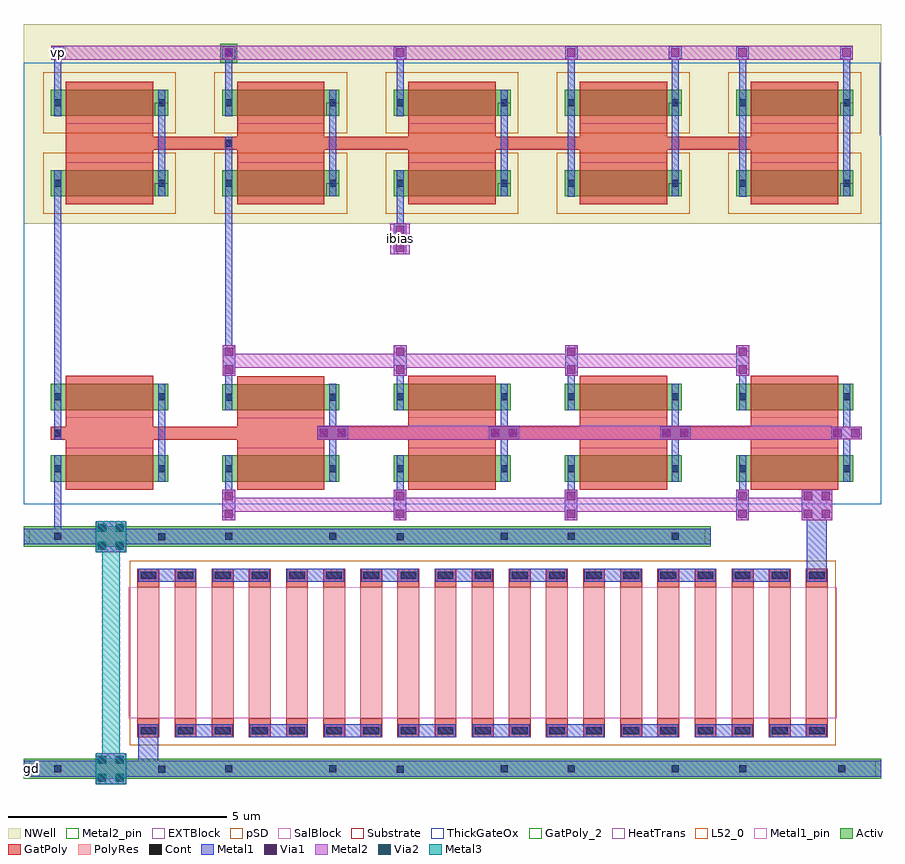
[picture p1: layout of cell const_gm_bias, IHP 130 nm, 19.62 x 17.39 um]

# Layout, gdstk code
import gdstk
lib = gdstk.Library(unit=1e-6, precision=1e-09)
def R(c, l, rs):  # rectangles x0, y0, x1, y1
    for r in rs: c.add(gdstk.rectangle(r[:2], r[2:], *l))
def A(c, l, x, y, w, h, nx, ny, dx, dy):  # array of equal rectangles
    R(c, l, [(x+i*dx, y+j*dy, x+i*dx+w, y+j*dy+h) for i in range(nx) for j in range(ny)])
Activ = (1, 0)
GatPoly = (5, 0)
GatPoly_2 = (5, 2)
Cont = (6, 0)
Metal1 = (8, 0)
Metal1_pin = (8, 2)
Metal2 = (10, 0)
Metal2_pin = (10, 2)
pSD = (14, 0)
Via1 = (19, 0)
SalBlock = (28, 0)
Via2 = (29, 0)
Metal3 = (30, 0)
NWell = (31, 0)
Substrate = (40, 0)
ThickGateOx = (44, 0)
HeatTrans = (51, 0)
L52_0 = (52, 0)
EXTBlock = (111, 0)
PolyRes = (128, 0)

nmoshv_1_1 = lib.new_cell('nmosHV$1$1')
R(nmoshv_1_1, Activ, [(0,0,0.3,0.3), (0,0,2.68,0.6), (2.38,0,2.68,0.3)])
R(nmoshv_1_1, GatPoly, [(0.34,-0.18,2.34,0.78)])
R(nmoshv_1_1, GatPoly_2, [(0.34,-0.18,2.34,0.78)])
R(nmoshv_1_1, Cont, [(0.07,0.22,0.23,0.38), (2.45,0.22,2.61,0.38)])
R(nmoshv_1_1, Metal1, [(0.07,0,0.23,0.6), (2.45,0,2.61,0.6)])
R(nmoshv_1_1, Metal1_pin, [(0.07,0,0.23,0.6), (2.45,0,2.61,0.6)])
R(nmoshv_1_1, ThickGateOx, [(-0.27,-0.52,2.95,1.12)])
R(nmoshv_1_1, HeatTrans, [(0.34,-0.18,2.34,0.78)])
nmoshv_1_1.add(gdstk.Label('nmosHV', (1.34,0.3), layer=63, texttype=0))
nmoshv_1_1.add(gdstk.Label('nmosHV', (1.34,0.3), layer=51, texttype=0))

nmoshv_1 = lib.new_cell('nmosHV$1')
R(nmoshv_1, Activ, [(0,0,0.3,0.3), (0,0,2.68,0.6), (2.38,0,2.68,0.3)])
R(nmoshv_1, GatPoly, [(0.34,-0.18,2.34,0.78)])
R(nmoshv_1, GatPoly_2, [(0.34,-0.18,2.34,0.78)])
R(nmoshv_1, Cont, [(0.07,0.22,0.23,0.38), (2.45,0.22,2.61,0.38)])
R(nmoshv_1, Metal1, [(0.07,0,0.23,0.6), (2.45,0,2.61,0.6)])
R(nmoshv_1, Metal1_pin, [(0.07,0,0.23,0.6), (2.45,0,2.61,0.6)])
R(nmoshv_1, ThickGateOx, [(-0.27,-0.52,2.95,1.12)])
R(nmoshv_1, HeatTrans, [(0.34,-0.18,2.34,0.78)])
nmoshv_1.add(gdstk.Label('nmosHV', (1.34,0.3), layer=63, texttype=0))
nmoshv_1.add(gdstk.Label('nmosHV', (1.34,0.3), layer=51, texttype=0))

via_stack_4 = lib.new_cell('via_stack$4')
R(via_stack_4, Metal1, [(-0.145,-0.35,0.145,0.35)])
R(via_stack_4, Metal2, [(-0.145,-0.35,0.145,0.35)])
R(via_stack_4, Via1, [(-0.095,-0.3,0.095,-0.11), (-0.095,0.11,0.095,0.3)])

via_stack_1_1 = lib.new_cell('via_stack$1$1')
R(via_stack_1_1, Metal1, [(-0.35,-0.35,0.35,0.35)])
R(via_stack_1_1, Metal2, [(-0.35,-0.35,0.35,0.35)])
R(via_stack_1_1, Via1, [(-0.3,-0.3,-0.11,-0.11), (0.11,-0.3,0.3,-0.11), (-0.3,0.11,-0.11,0.3), (0.11,0.11,0.3,0.3)])

via_stack_2_1 = lib.new_cell('via_stack$2$1')
R(via_stack_2_1, Metal1, [(-0.35,-0.35,0.35,0.35)])
R(via_stack_2_1, Metal2, [(-0.35,-0.35,0.35,0.35)])
R(via_stack_2_1, Via1, [(-0.3,-0.3,-0.11,-0.11), (0.11,-0.3,0.3,-0.11), (-0.3,0.11,-0.11,0.3), (0.11,0.11,0.3,0.3)])
R(via_stack_2_1, Via2, [(-0.3,-0.3,-0.11,-0.11), (0.11,-0.3,0.3,-0.11), (-0.3,0.11,-0.11,0.3), (0.11,0.11,0.3,0.3)])
R(via_stack_2_1, Metal3, [(-0.35,-0.35,0.35,0.35)])

via_stack_4_1 = lib.new_cell('via_stack$4$1')
R(via_stack_4_1, Metal1, [(-0.35,-0.145,0.35,0.145)])
R(via_stack_4_1, Metal2, [(-0.35,-0.145,0.35,0.145)])
R(via_stack_4_1, Via1, [(-0.3,-0.095,-0.11,0.095), (0.11,-0.095,0.3,0.095)])

rppd_2 = lib.new_cell('rppd$2')
A(rppd_2, GatPoly, 0, -0.43, 0.5, 0.23, 19, 2, 0.85, 3.63)
A(rppd_2, GatPoly, 0, -0.2, 0.5, 0.2, 19, 2, 0.85, 3.2)
A(rppd_2, Cont, 0.07, -0.36, 0.36, 0.16, 19, 2, 0.85, 3.56)
A(rppd_2, Metal1, 0.02, -0.43, 0.46, 0.3, 19, 2, 0.85, 3.56)
A(rppd_2, Metal1, 0.87, -0.43, 1.31, 0.3, 9, 1, 1.7, 0)
A(rppd_2, Metal1, 0.02, 3.13, 1.31, 0.3, 9, 1, 1.7, 0)
A(rppd_2, Metal1_pin, 0.02, -0.43, 0.46, 0.3, 19, 2, 0.85, 3.56)
A(rppd_2, pSD, -0.18, -0.61, 0.86, 0.61, 19, 2, 0.85, 3.61)
A(rppd_2, pSD, -0.18, 0, 0.86, 3, 19, 1, 0.85, 0)
A(rppd_2, SalBlock, -0.2, 0, 0.9, 3, 19, 1, 0.85, 0)
A(rppd_2, L52_0, 0, 0, 0.5, 3, 19, 1, 0.85, 0)
A(rppd_2, EXTBlock, -0.18, -0.61, 0.86, 0.61, 19, 2, 0.85, 3.61)
A(rppd_2, EXTBlock, -0.2, 0, 0.9, 3, 19, 1, 0.85, 0)
A(rppd_2, PolyRes, 0, 0, 0.5, 3, 19, 1, 0.85, 0)
rppd_2.add(gdstk.Label('rppd r=1681.502', (0.25,1.5), layer=63, texttype=0))
rppd_2.add(gdstk.Label('rppd r=1681.502', (0.25,1.5), layer=63, texttype=0))
rppd_2.add(gdstk.Label('rppd r=1681.502', (0.25,1.5), layer=63, texttype=0))
rppd_2.add(gdstk.Label('rppd r=1681.502', (0.25,1.5), layer=63, texttype=0))
rppd_2.add(gdstk.Label('rppd r=1681.502', (0.25,1.5), layer=63, texttype=0))
rppd_2.add(gdstk.Label('rppd r=1681.502', (0.25,1.5), layer=63, texttype=0))
rppd_2.add(gdstk.Label('rppd r=1681.502', (0.25,1.5), layer=63, texttype=0))
rppd_2.add(gdstk.Label('rppd r=1681.502', (0.25,1.5), layer=63, texttype=0))
rppd_2.add(gdstk.Label('rppd r=1681.502', (0.25,1.5), layer=63, texttype=0))
rppd_2.add(gdstk.Label('rppd r=1681.502', (0.25,1.5), layer=63, texttype=0))
rppd_2.add(gdstk.Label('rppd r=1681.502', (0.25,1.5), layer=63, texttype=0))
rppd_2.add(gdstk.Label('rppd r=1681.502', (0.25,1.5), layer=63, texttype=0))
rppd_2.add(gdstk.Label('rppd r=1681.502', (0.25,1.5), layer=63, texttype=0))
rppd_2.add(gdstk.Label('rppd r=1681.502', (0.25,1.5), layer=63, texttype=0))
rppd_2.add(gdstk.Label('rppd r=1681.502', (0.25,1.5), layer=63, texttype=0))
rppd_2.add(gdstk.Label('rppd r=1681.502', (0.25,1.5), layer=63, texttype=0))
rppd_2.add(gdstk.Label('rppd r=1681.502', (0.25,1.5), layer=63, texttype=0))
rppd_2.add(gdstk.Label('rppd r=1681.502', (0.25,1.5), layer=63, texttype=0))
rppd_2.add(gdstk.Label('rppd r=1681.502', (0.25,1.5), layer=63, texttype=0))
rppd_2.add(gdstk.Label('rppd', (0.25,1.5), layer=52, texttype=0))
rppd_2.add(gdstk.Label('rppd', (1.1,1.5), layer=52, texttype=0))
rppd_2.add(gdstk.Label('rppd', (1.95,1.5), layer=52, texttype=0))
rppd_2.add(gdstk.Label('rppd', (2.8,1.5), layer=52, texttype=0))
rppd_2.add(gdstk.Label('rppd', (3.65,1.5), layer=52, texttype=0))
rppd_2.add(gdstk.Label('rppd', (4.5,1.5), layer=52, texttype=0))
rppd_2.add(gdstk.Label('rppd', (5.35,1.5), layer=52, texttype=0))
rppd_2.add(gdstk.Label('rppd', (6.2,1.5), layer=52, texttype=0))
rppd_2.add(gdstk.Label('rppd', (7.05,1.5), layer=52, texttype=0))
rppd_2.add(gdstk.Label('rppd', (7.9,1.5), layer=52, texttype=0))
rppd_2.add(gdstk.Label('rppd', (8.75,1.5), layer=52, texttype=0))
rppd_2.add(gdstk.Label('rppd', (9.6,1.5), layer=52, texttype=0))
rppd_2.add(gdstk.Label('rppd', (10.45,1.5), layer=52, texttype=0))
rppd_2.add(gdstk.Label('rppd', (11.3,1.5), layer=52, texttype=0))
rppd_2.add(gdstk.Label('rppd', (12.15,1.5), layer=52, texttype=0))
rppd_2.add(gdstk.Label('rppd', (13,1.5), layer=52, texttype=0))
rppd_2.add(gdstk.Label('rppd', (13.85,1.5), layer=52, texttype=0))
rppd_2.add(gdstk.Label('rppd', (14.7,1.5), layer=52, texttype=0))
rppd_2.add(gdstk.Label('rppd', (15.55,1.5), layer=52, texttype=0))

pmoshv_1 = lib.new_cell('pmosHV$1')
R(pmoshv_1, Activ, [(0,0,0.3,0.3), (0,0,2.68,0.6), (2.38,0,2.68,0.3)])
R(pmoshv_1, GatPoly, [(0.34,-0.18,2.34,0.78)])
R(pmoshv_1, GatPoly_2, [(0.34,-0.18,2.34,0.78)])
R(pmoshv_1, Cont, [(0.07,0.22,0.23,0.38), (2.45,0.22,2.61,0.38)])
R(pmoshv_1, Metal1, [(0.07,0,0.23,0.6), (2.45,0,2.61,0.6)])
R(pmoshv_1, Metal1_pin, [(0.07,0,0.23,0.6), (2.45,0,2.61,0.6)])
R(pmoshv_1, pSD, [(-0.18,-0.4,2.86,1)])
R(pmoshv_1, NWell, [(-0.62,-0.62,3.3,1.22)])
R(pmoshv_1, Substrate, [(2.38,0,2.68,0.3)])
R(pmoshv_1, ThickGateOx, [(-0.62,-0.62,3.3,1.22)])
R(pmoshv_1, HeatTrans, [(0.34,-0.18,2.34,0.78)])
pmoshv_1.add(gdstk.Label('pmosHV', (1.34,0.3), layer=63, texttype=0))
pmoshv_1.add(gdstk.Label('pmos', (1.34,0.3), layer=51, texttype=0))

via_stack_12 = lib.new_cell('via_stack$12')
R(via_stack_12, Metal1, [(-0.145,-0.145,0.145,0.145)])
R(via_stack_12, Metal2, [(-0.145,-0.145,0.145,0.145)])
R(via_stack_12, Via1, [(-0.095,-0.095,0.095,0.095)])

const_gm_bias = lib.new_cell('const_gm_bias')
R(const_gm_bias, Activ, [(4.49,16.43,4.88,16.86)])
R(const_gm_bias, Cont, [(3.07,0.18,3.23,0.34), (8.53,0.18,8.69,0.34), (4.61,0.185,4.77,0.345), (6.99,0.185,7.15,0.345), (16.37,0.185,16.53,0.345), (0.69,0.19,0.85,0.35), (10.92,0.19,11.08,0.35), (12.45,0.19,12.61,0.35), (14.83,0.19,14.99,0.35), (18.64,0.19,18.8,0.35), (3.07,5.5,3.23,5.66), (8.53,5.5,8.69,5.66), (4.61,5.505,4.77,5.665), (6.99,5.505,7.15,5.665), (0.69,5.51,0.85,5.67), (10.92,5.51,11.08,5.67), (12.45,5.51,12.61,5.67), (14.83,5.51,14.99,5.67), (0.69,7.87,0.85,8.03), (4.61,14.505,4.77,14.665), (4.595,16.565,4.785,16.755)])
R(const_gm_bias, Metal1_pin, [(0,0.09,0.36,0.45)])
R(const_gm_bias, Metal2, [(8.39,12.045,8.83,12.745)])
R(const_gm_bias, Metal2_pin, [(8.39,12.045,8.83,12.745), (0.625,16.5,0.945,16.82)])
R(const_gm_bias, NWell, [(0,12.745,19.62,17.315)])
R(const_gm_bias, ThickGateOx, [(0,6.32,19.62,14.75)])
const_gm_bias.add(gdstk.FlexPath([(14.91,16.805),(14.91,13.965)], 0.16, ends="flush", simple_path=True, layer=8, datatype=0))  # Metal1
const_gm_bias.add(gdstk.FlexPath([(18.83,16.805),(18.83,13.965)], 0.16, ends="flush", simple_path=True, layer=8, datatype=0))  # Metal1
const_gm_bias.add(gdstk.FlexPath([(8.61,13.37),(8.61,12.18)], 0.16, ends="flush", simple_path=True, layer=8, datatype=0))  # Metal1
const_gm_bias.add(gdstk.FlexPath([(7.07,15.21),(7.07,13.97)], 0.16, ends="flush", simple_path=True, layer=8, datatype=0))  # Metal1
const_gm_bias.add(gdstk.FlexPath([(3.15,15.21),(3.15,13.97)], 0.16, ends="flush", simple_path=True, layer=8, datatype=0))  # Metal1
const_gm_bias.add(gdstk.FlexPath([(10.99,15.21),(10.99,13.97)], 0.16, ends="flush", simple_path=True, layer=8, datatype=0))  # Metal1
const_gm_bias.add(gdstk.FlexPath([(12.53,13.365),(12.53,16.805)], 0.16, ends="flush", simple_path=True, layer=8, datatype=0))  # Metal1
const_gm_bias.add(gdstk.FlexPath([(8.61,15.205),(8.61,16.805)], 0.16, ends="flush", simple_path=True, layer=8, datatype=0))  # Metal1
const_gm_bias.add(gdstk.FlexPath([(4.69,15.205),(4.69,16.805)], 0.16, ends="flush", simple_path=True, layer=8, datatype=0))  # Metal1
const_gm_bias.add(gdstk.FlexPath([(16.45,13.365),(16.45,16.805)], 0.16, ends="flush", simple_path=True, layer=8, datatype=0))  # Metal1
const_gm_bias.add(gdstk.FlexPath([(0.77,15.205),(0.77,16.805)], 0.16, ends="flush", simple_path=True, layer=8, datatype=0))  # Metal1
const_gm_bias.add(gdstk.FlexPath([(4.69,13.965),(4.69,14.735)], 0.16, ends="flush", simple_path=True, layer=8, datatype=0))  # Metal1
const_gm_bias.add(gdstk.FlexPath([(0.77,7.8),(0.77,13.97)], 0.16, ends="flush", simple_path=True, layer=8, datatype=0))  # Metal1
const_gm_bias.add(gdstk.FlexPath([(4.69,8.48),(4.69,13.97)], 0.16, ends="flush", simple_path=True, layer=8, datatype=0))  # Metal1
const_gm_bias.add(gdstk.FlexPath([(7.07,6.84),(7.07,9.08)], 0.16, ends="flush", simple_path=True, layer=8, datatype=0))  # Metal1
const_gm_bias.add(gdstk.FlexPath([(10.99,6.84),(10.99,9.08)], 0.16, ends="flush", simple_path=True, layer=8, datatype=0))  # Metal1
const_gm_bias.add(gdstk.FlexPath([(4.69,6.84),(4.69,6.31)], 0.16, ends="flush", simple_path=True, layer=8, datatype=0))  # Metal1
const_gm_bias.add(gdstk.FlexPath([(8.61,6.84),(8.61,6.31)], 0.16, ends="flush", simple_path=True, layer=8, datatype=0))  # Metal1
const_gm_bias.add(gdstk.FlexPath([(12.53,6.84),(12.53,6.31)], 0.16, ends="flush", simple_path=True, layer=8, datatype=0))  # Metal1
const_gm_bias.add(gdstk.FlexPath([(14.91,6.84),(14.91,9.08)], 0.16, ends="flush", simple_path=True, layer=8, datatype=0))  # Metal1
const_gm_bias.add(gdstk.FlexPath([(16.45,6.84),(16.45,6.31)], 0.16, ends="flush", simple_path=True, layer=8, datatype=0))  # Metal1
const_gm_bias.add(gdstk.FlexPath([(18.83,6.84),(18.83,9.08)], 0.16, ends="flush", simple_path=True, layer=8, datatype=0))  # Metal1
const_gm_bias.add(gdstk.FlexPath([(0,5.585),(15.72,5.585)], 0.36, ends="flush", simple_path=True, layer=8, datatype=0))  # Metal1
const_gm_bias.add(gdstk.FlexPath([(18.15,4.85),(18.15,6.31)], 0.46, ends="flush", simple_path=True, layer=8, datatype=0))  # Metal1
const_gm_bias.add(gdstk.FlexPath([(2.85,1.14),(2.85,0.27)], 0.46, ends="flush", simple_path=True, layer=8, datatype=0))  # Metal1
const_gm_bias.add(gdstk.FlexPath([(0,0.27),(19.62,0.27)], 0.36, ends="flush", simple_path=True, layer=8, datatype=0))  # Metal1
const_gm_bias.add(gdstk.FlexPath([(8.61,9.08),(8.61,9.96)], 0.16, ends="flush", simple_path=True, layer=8, datatype=0))  # Metal1
const_gm_bias.add(gdstk.FlexPath([(12.53,9.08),(12.53,9.96)], 0.16, ends="flush", simple_path=True, layer=8, datatype=0))  # Metal1
const_gm_bias.add(gdstk.FlexPath([(16.45,9.08),(16.45,9.96)], 0.16, ends="flush", simple_path=True, layer=8, datatype=0))  # Metal1
const_gm_bias.add(gdstk.FlexPath([(3.15,7.44),(3.15,8.48)], 0.16, ends="flush", simple_path=True, layer=8, datatype=0))  # Metal1
const_gm_bias.add(gdstk.FlexPath([(0.77,7.14),(0.77,5.585)], 0.16, ends="flush", simple_path=True, layer=8, datatype=0))  # Metal1
const_gm_bias.add(gdstk.FlexPath([(1.96,15.03),(1.96,14.15)], 2, ends="flush", simple_path=True, layer=5, datatype=0))  # GatPoly
const_gm_bias.add(gdstk.FlexPath([(5.88,15.03),(5.88,14.15)], 2, ends="flush", simple_path=True, layer=5, datatype=0))  # GatPoly
const_gm_bias.add(gdstk.FlexPath([(9.8,15.03),(9.8,14.15)], 2, ends="flush", simple_path=True, layer=5, datatype=0))  # GatPoly
const_gm_bias.add(gdstk.FlexPath([(13.72,15.03),(13.72,14.15)], 2, ends="flush", simple_path=True, layer=5, datatype=0))  # GatPoly
const_gm_bias.add(gdstk.FlexPath([(17.64,15.03),(17.64,14.15)], 2, ends="flush", simple_path=True, layer=5, datatype=0))  # GatPoly
const_gm_bias.add(gdstk.FlexPath([(17.64,14.585),(1.96,14.585)], 0.3, ends="flush", simple_path=True, layer=5, datatype=0))  # GatPoly
const_gm_bias.add(gdstk.FlexPath([(1.96,8.78),(1.96,7.14)], 2, ends="flush", simple_path=True, layer=5, datatype=0))  # GatPoly
const_gm_bias.add(gdstk.FlexPath([(5.88,8.78),(5.88,7.14)], 2, ends="flush", simple_path=True, layer=5, datatype=0))  # GatPoly
const_gm_bias.add(gdstk.FlexPath([(9.8,8.78),(9.8,7.14)], 2, ends="flush", simple_path=True, layer=5, datatype=0))  # GatPoly
const_gm_bias.add(gdstk.FlexPath([(13.72,8.78),(13.72,7.14)], 2, ends="flush", simple_path=True, layer=5, datatype=0))  # GatPoly
const_gm_bias.add(gdstk.FlexPath([(17.64,8.78),(17.64,7.14)], 2, ends="flush", simple_path=True, layer=5, datatype=0))  # GatPoly
const_gm_bias.add(gdstk.FlexPath([(0.62,7.95),(16.64,7.95)], 0.3, ends="flush", simple_path=True, layer=5, datatype=0))  # GatPoly
const_gm_bias.add(gdstk.FlexPath([(15.6,5.585),(0.12,5.585)], 0.36, ends="flush", simple_path=True, layer=14, datatype=0))  # pSD
const_gm_bias.add(gdstk.FlexPath([(19.5,0.27),(0.12,0.27)], 0.36, ends="flush", simple_path=True, layer=14, datatype=0))  # pSD
const_gm_bias.add(gdstk.FlexPath([(0,5.585),(15.72,5.585)], 0.46, ends="flush", simple_path=True, layer=1, datatype=0))  # Activ
const_gm_bias.add(gdstk.FlexPath([(0,0.27),(19.62,0.27)], 0.46, ends="flush", simple_path=True, layer=1, datatype=0))  # Activ
const_gm_bias.add(gdstk.FlexPath([(0.625,16.66),(18.975,16.66)], 0.32, ends="flush", simple_path=True, layer=10, datatype=0))  # Metal2
const_gm_bias.add(gdstk.FlexPath([(18.15,6.31),(4.545,6.31)], 0.32, ends="flush", simple_path=True, layer=10, datatype=0))  # Metal2
const_gm_bias.add(gdstk.FlexPath([(18.48,7.955),(6.72,7.955)], 0.32, ends="flush", simple_path=True, layer=10, datatype=0))  # Metal2
const_gm_bias.add(gdstk.FlexPath([(4.55,9.61),(16.6,9.61)], 0.32, ends="flush", simple_path=True, layer=10, datatype=0))  # Metal2
const_gm_bias.add(gdstk.FlexPath([(1.99,0.27),(1.99,5.585)], 0.4, ends="flush", simple_path=True, layer=30, datatype=0))  # Metal3
const_gm_bias.add(gdstk.Reference(nmoshv_1_1, (16.3,8.48)))
const_gm_bias.add(gdstk.Reference(nmoshv_1, (0.62,8.48)))
const_gm_bias.add(gdstk.Reference(nmoshv_1_1, (8.46,8.48)))
const_gm_bias.add(gdstk.Reference(nmoshv_1_1, (4.54,8.47)))
const_gm_bias.add(gdstk.Reference(nmoshv_1_1, (16.3,6.84)))
const_gm_bias.add(gdstk.Reference(nmoshv_1_1, (12.38,6.84)))
const_gm_bias.add(gdstk.Reference(nmoshv_1_1, (4.54,6.84)))
const_gm_bias.add(gdstk.Reference(via_stack_4, (4.69,6.31)))
const_gm_bias.add(gdstk.Reference(nmoshv_1_1, (8.46,6.84)))
const_gm_bias.add(gdstk.Reference(via_stack_4, (12.525,6.31)))
const_gm_bias.add(gdstk.Reference(via_stack_4, (12.53,9.61)))
const_gm_bias.add(gdstk.Reference(via_stack_4, (16.455,9.61)))
const_gm_bias.add(gdstk.Reference(via_stack_4, (8.615,9.61)))
const_gm_bias.add(gdstk.Reference(via_stack_1_1, (18.15,6.31)))
const_gm_bias.add(gdstk.Reference(via_stack_4, (4.695,9.61)))
const_gm_bias.add(gdstk.Reference(nmoshv_1, (0.62,6.84)))
const_gm_bias.add(gdstk.Reference(nmoshv_1_1, (12.38,8.48)))
const_gm_bias.add(gdstk.Reference(via_stack_2_1, (1.99,5.58)))
const_gm_bias.add(gdstk.Reference(via_stack_2_1, (1.99,0.27)))
const_gm_bias.add(gdstk.Reference(via_stack_4, (8.605,6.31)))
const_gm_bias.add(gdstk.Reference(via_stack_4_1, (7.07,7.955)))
const_gm_bias.add(gdstk.Reference(via_stack_4_1, (10.99,7.955)))
const_gm_bias.add(gdstk.Reference(via_stack_4_1, (14.91,7.955)))
const_gm_bias.add(gdstk.Reference(via_stack_4_1, (18.83,7.955)))
const_gm_bias.add(gdstk.Reference(via_stack_4, (16.45,6.31)))
const_gm_bias.add(gdstk.Reference(rppd_2, (2.6,1.42)))
const_gm_bias.add(gdstk.Reference(via_stack_4, (8.61,12.4)))
const_gm_bias.add(gdstk.Reference(pmoshv_1, (0.62,13.37)))
const_gm_bias.add(gdstk.Reference(pmoshv_1, (4.54,13.37)))
const_gm_bias.add(gdstk.Reference(pmoshv_1, (8.46,15.21)))
const_gm_bias.add(gdstk.Reference(pmoshv_1, (4.54,15.21)))
const_gm_bias.add(gdstk.Reference(pmoshv_1, (8.46,13.37)))
const_gm_bias.add(gdstk.Reference(pmoshv_1, (12.38,15.21)))
const_gm_bias.add(gdstk.Reference(pmoshv_1, (12.38,13.37)))
const_gm_bias.add(gdstk.Reference(pmoshv_1, (16.3,15.21)))
const_gm_bias.add(gdstk.Reference(pmoshv_1, (0.62,15.21)))
const_gm_bias.add(gdstk.Reference(pmoshv_1, (16.3,13.37)))
const_gm_bias.add(gdstk.Reference(via_stack_12, (0.77,16.66)))
const_gm_bias.add(gdstk.Reference(via_stack_12, (4.69,16.66)))
const_gm_bias.add(gdstk.Reference(via_stack_12, (8.61,16.66)))
const_gm_bias.add(gdstk.Reference(via_stack_12, (12.53,16.66)))
const_gm_bias.add(gdstk.Reference(via_stack_12, (14.91,16.66)))
const_gm_bias.add(gdstk.Reference(via_stack_12, (16.45,16.66)))
const_gm_bias.add(gdstk.Reference(via_stack_12, (18.83,16.66)))
const_gm_bias.add(gdstk.Label('gd', (0.18,0.27), layer=8, texttype=25))
const_gm_bias.add(gdstk.Label('vp', (0.8,16.67), layer=10, texttype=25))
const_gm_bias.add(gdstk.Label('ibias', (8.61,12.395), layer=10, texttype=25))

lib.write_gds('const_gm_bias.gds')
